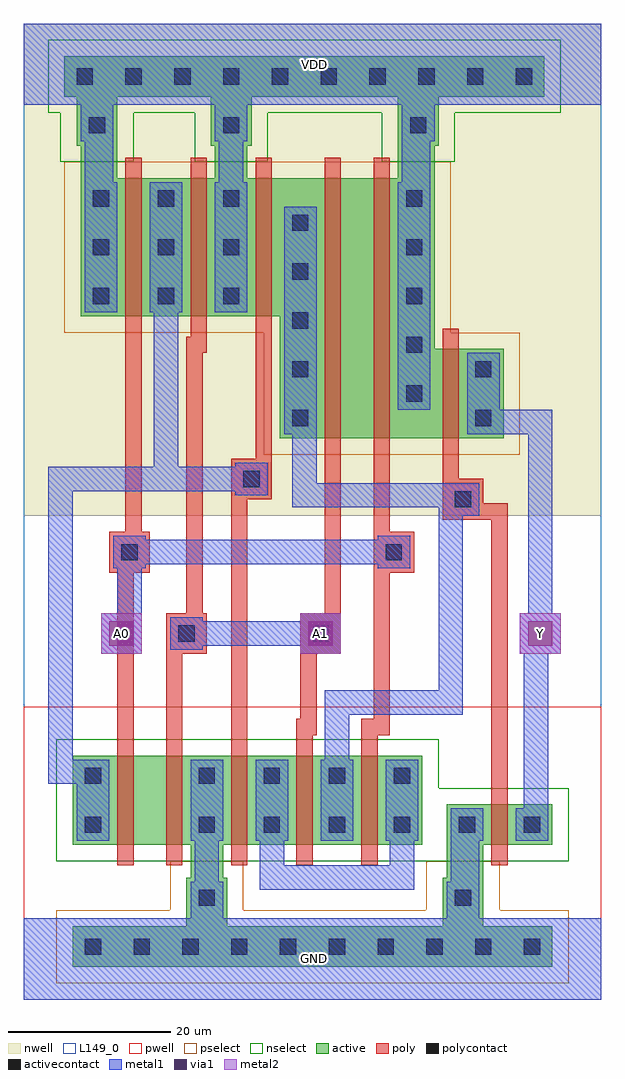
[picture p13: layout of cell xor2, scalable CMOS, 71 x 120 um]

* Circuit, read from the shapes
.subckt xor2 A0 A1 GND VDD Y
M1 n1 A0 n2 GND nfet w=11u l=2u
M2 GND A1 n1 GND nfet w=11u l=2u
M3 n3 n2 GND GND nfet w=11u l=2u
M4 n4 A1 n3 GND nfet w=11u l=2u
M5 n3 A0 n4 GND nfet w=11u l=2u
M6 Y n4 GND GND nfet w=5u l=2u
M7 n2 A0 VDD VDD pfet w=17u l=2u
M8 VDD A1 n2 VDD pfet w=17u l=2u
M9 n4 n2 VDD VDD pfet w=17u l=2u
M10 n5 A1 n4 VDD pfet w=32u l=2u
M11 VDD A0 n5 VDD pfet w=32u l=2u
M12 Y n4 VDD VDD pfet w=11u l=2u
.ends

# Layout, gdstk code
import gdstk
lib = gdstk.Library(unit=1e-6, precision=1e-09)
def R(c, l, rs):  # rectangles x0, y0, x1, y1
    for r in rs: c.add(gdstk.rectangle(r[:2], r[2:], *l))
def A(c, l, x, y, w, h, nx, ny, dx, dy):  # array of equal rectangles
    R(c, l, [(x+i*dx, y+j*dy, x+i*dx+w, y+j*dy+h) for i in range(nx) for j in range(ny)])
def P(c, l, *ps):  # polygons
    for p in ps: c.add(gdstk.Polygon(p, *l))
pwell = (41, 0)
nwell = (42, 0)
active = (43, 0)
pselect = (44, 0)
nselect = (45, 0)
poly = (46, 0)
polycontact = (47, 0)
activecontact = (48, 0)
metal1 = (49, 0)
via1 = (50, 0)
metal2 = (51, 0)
L149_0 = (149, 0)

via = lib.new_cell('via')
R(via, metal1, [(-2.5,-2.5,2.5,2.5)])
R(via, via1, [(-1.5,-1.5,1.5,1.5)])
R(via, metal2, [(-2.5,-2.5,2.5,2.5)])

xor2 = lib.new_cell('xor2')
R(xor2, pwell, [(0,0,71,36), (0,13,55,36), (46,13,71,30)])
R(xor2, nwell, [(0,59.5,71,120)])
P(xor2, nwell, [(65,63),(65,86),(56.5,86),(56.5,107),(1,107),(1,78),(25.5,78),(25.5,63)])
R(xor2, active, [(6,4,65,9), (20,9,25,15), (51.5,9,56.5,15), (20.5,15,24.5,19), (52,15,56.5,19), (6,19,11.5,30), (6,19,49,30), (43.5,19,49,30), (52,19,57.5,24), (52,19,65,24), (59.5,19,65,24), (53.5,69,59,80), (7,84,12.5,101), (7,101,11.5,105), (23.5,101,27.5,105), (46,101,50.5,105), (6.5,105,11.5,111), (23,105,28,111), (46,105,51,111), (5,111,64,116)])
P(xor2, active, [(59,69),(59,80),(50.5,80),(50.5,101),(7,101),(7,84),(31.5,84),(31.5,69)])
R(xor2, pselect, [(4,2,67,11), (18,11,27,17), (49.5,11,58.5,17)])
P(xor2, pselect, [(61,67),(61,82),(52.5,82),(52.5,103),(5,103),(5,82),(29.5,82),(29.5,67)])
R(xor2, nselect, [(4,17,51,32), (50,17,67,26), (4.5,103,13.5,109), (21,103,30,109), (44,103,53,109), (3,109,66,118)])
A(xor2, poly, 17.5, 16.5, 2, 2.5, 4, 2, 8, 13.5)
A(xor2, poly, 17.5, 19, 2, 11, 4, 1, 8, 0)
A(xor2, poly, 12.5, 81.5, 2, 2.5, 3, 2, 8, 19.5)
A(xor2, poly, 12.5, 84, 2, 17, 3, 1, 8, 0)
R(xor2, poly, [(11.5,16.5,13.5,19), (57.5,16.5,59.5,19), (11.5,19,13.5,30), (57.5,19,59.5,24), (57.5,24,59.5,26.5), (11.5,30,13.5,32.5), (17.5,42.5,22.5,47.5), (34,42.5,39,47.5), (10.5,52.5,15.5,57.5), (43,52.5,48,57.5), (51.5,59,56.5,64), (25.5,61.5,30.5,66.5), (37,66.5,39,69), (43,66.5,45,69), (51.5,66.5,53.5,69), (37,69,39,101), (43,69,45,101), (51.5,69,53.5,80), (51.5,80,53.5,82.5), (37,101,39,103.5), (43,101,45,103.5)])
R(xor2, polycontact, [(19,44,21,46), (35.5,44,37.5,46), (12,54,14,56), (44.5,54,46.5,56), (53,60.5,55,62.5), (27,63,29,65)])
A(xor2, activecontact, 7.5, 5.5, 2, 2, 10, 1, 6, 0)
A(xor2, activecontact, 21.5, 20.5, 2, 2, 6, 1, 8, 0)
A(xor2, activecontact, 21.5, 26.5, 2, 2, 4, 1, 8, 0)
A(xor2, activecontact, 33, 70.5, 2, 2, 1, 5, 0, 6)
A(xor2, activecontact, 47, 73.5, 2, 2, 1, 5, 0, 6)
A(xor2, activecontact, 8.5, 85.5, 2, 2, 3, 3, 8, 6)
A(xor2, activecontact, 6.5, 112.5, 2, 2, 10, 1, 6, 0)
R(xor2, activecontact, [(21.5,11.5,23.5,13.5), (53,11.5,55,13.5), (7.5,20.5,9.5,22.5), (7.5,26.5,9.5,28.5), (55.5,70.5,57.5,72.5), (55.5,76.5,57.5,78.5), (8,106.5,10,108.5), (24.5,106.5,26.5,108.5), (47.5,106.5,49.5,108.5)])
A(xor2, metal1, 20.5, 19.5, 4, 10, 4, 1, 8, 0)
A(xor2, metal1, 7.5, 84.5, 4, 16, 3, 1, 8, 0)
R(xor2, metal1, [(0,0,71,10), (20.5,10,24.5,14.5), (52,10,56,14.5), (21,14.5,24,19.5), (52.5,14.5,56,19.5), (6.5,19.5,10.5,29.5), (52.5,19.5,56.5,23.5), (60.5,19.5,64.5,23.5), (18,43,22,47), (34.5,43,38.5,47), (11,53,15,57), (43.5,53,47.5,57), (52,59.5,56,63.5), (26,62,30,66), (32,69.5,36,97.5), (54.5,69.5,58.5,79.5), (46,72.5,50,100.5), (7.5,100.5,11,105.5), (24,100.5,27,105.5), (46.5,100.5,50,105.5), (7,105.5,11,110), (23.5,105.5,27.5,110), (46.5,105.5,50.5,110), (0,110,71,120)])
R(xor2, metal2, [(9.5,42.5,14.5,47.5), (34,42.5,39,47.5), (61,42.5,66,47.5)])
R(xor2, L149_0, [(0,0,71,120)])
xor2.add(gdstk.FlexPath([(46.5,19.5),(46.5,15),(30.5,15),(30.5,19.5)], 3, ends="flush", simple_path=True, layer=49, datatype=0))  # metal1
xor2.add(gdstk.FlexPath([(43.5,55),(15,55)], 3, ends="flush", simple_path=True, layer=49, datatype=0))  # metal1
xor2.add(gdstk.FlexPath([(34.5,69.5),(34.5,62),(52.5,62),(52.5,36.5),(38.5,36.5),(38.5,29.5)], 3, ends="flush", simple_path=True, layer=49, datatype=0))  # metal1
xor2.add(gdstk.FlexPath([(16,64),(4.5,64),(4.5,28),(6.5,28)], 3, ends="flush", simple_path=True, layer=49, datatype=0))  # metal1
xor2.add(gdstk.FlexPath([(26,64),(17.5,64),(17.5,84.5)], 3, ends="flush", simple_path=True, layer=49, datatype=0))  # metal1
xor2.add(gdstk.FlexPath([(34.5,45),(22,45)], 3, ends="flush", simple_path=True, layer=49, datatype=0))  # metal1
xor2.add(gdstk.FlexPath([(58.5,71),(63.5,71),(63.5,47.5)], 3, ends="flush", simple_path=True, layer=49, datatype=0))  # metal1
xor2.add(gdstk.FlexPath([(63,23.5),(63,42.5)], 3, ends="flush", simple_path=True, layer=49, datatype=0))  # metal1
xor2.add(gdstk.FlexPath([(13,47.5),(13,53)], 3, ends="flush", simple_path=True, layer=49, datatype=0))  # metal1
xor2.add(gdstk.FlexPath([(12.5,32.5),(12.5,52.5)], 2, ends="flush", simple_path=True, layer=46, datatype=0))  # poly
xor2.add(gdstk.FlexPath([(35,42.5),(35,33.5),(33.5,33.5)], 2, ends="flush", simple_path=True, layer=46, datatype=0))  # poly
xor2.add(gdstk.FlexPath([(29.5,81.5),(29.5,66.5)], 2, ends="flush", simple_path=True, layer=46, datatype=0))  # poly
xor2.add(gdstk.FlexPath([(22.5,80.5),(21,80.5),(21,47.5)], 2, ends="flush", simple_path=True, layer=46, datatype=0))  # poly
xor2.add(gdstk.FlexPath([(13.5,81.5),(13.5,57.5)], 2, ends="flush", simple_path=True, layer=46, datatype=0))  # poly
xor2.add(gdstk.FlexPath([(26.5,32.5),(26.5,61.5)], 2, ends="flush", simple_path=True, layer=46, datatype=0))  # poly
xor2.add(gdstk.FlexPath([(18.5,42.5),(18.5,32.5)], 2, ends="flush", simple_path=True, layer=46, datatype=0))  # poly
xor2.add(gdstk.FlexPath([(52.5,66.5),(52.5,64)], 2, ends="flush", simple_path=True, layer=46, datatype=0))  # poly
xor2.add(gdstk.FlexPath([(44,66.5),(44,33.5),(41.5,33.5)], 2, ends="flush", simple_path=True, layer=46, datatype=0))  # poly
xor2.add(gdstk.FlexPath([(38,47.5),(38,66.5)], 2, ends="flush", simple_path=True, layer=46, datatype=0))  # poly
xor2.add(gdstk.FlexPath([(58.5,26.5),(58.5,60),(56.5,60)], 2, ends="flush", simple_path=True, layer=46, datatype=0))  # poly
xor2.add(gdstk.Reference(via, (63.5,45)))
xor2.add(gdstk.Reference(via, (36.5,45)))
xor2.add(gdstk.Reference(via, (12,45)))
xor2.add(gdstk.Label('A1', (36.5,45), layer=3, texttype=0))
xor2.add(gdstk.Label('Y', (63.5,45), layer=3, texttype=0))
xor2.add(gdstk.Label('A0', (12,45), layer=3, texttype=0))
xor2.add(gdstk.Label('GND', (35.75,5), layer=2, texttype=0))
xor2.add(gdstk.Label('VDD', (35.75,115), layer=2, texttype=0))
xor2.add(gdstk.Label('GND', (35.5,5), layer=2, texttype=0))
xor2.add(gdstk.Label('VDD', (35.5,115), layer=2, texttype=0))
xor2.add(gdstk.Label('Y', (63.5,45), layer=3, texttype=0))
xor2.add(gdstk.Label('A0', (12,45), layer=3, texttype=0))
xor2.add(gdstk.Label('A1', (36.5,45), layer=3, texttype=0))

lib.write_gds('xor2.gds')
